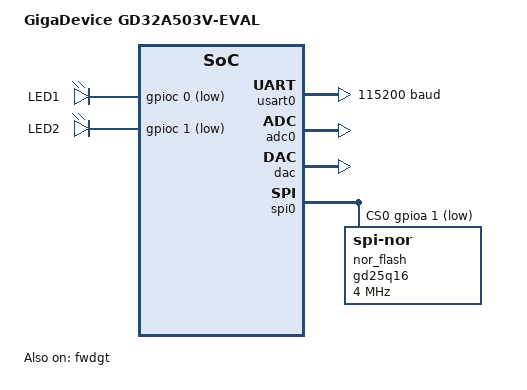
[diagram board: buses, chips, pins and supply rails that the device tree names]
/*
 * Copyright (c) 2022 YuLong Yao <feilongphone@gmail.com>
 * SPDX-License-Identifier: Apache-2.0
 */

/dts-v1/;

#include <gd/gd32a50x/gd32a503vdt3.dtsi>
#include "gd32a503v_eval-pinctrl.dtsi"

/ {
	model = "GigaDevice GD32A503V-EVAL";
	compatible = "gd,gd32a503v-eval";

	chosen {
		zephyr,sram = &sram0;
		zephyr,flash = &flash0;
		zephyr,console = &usart0;
		zephyr,shell-uart = &usart0;
		zephyr,flash-controller = &fmc;
	};

	leds {
		compatible = "gpio-leds";
		led1: led1 {
			gpios = <&gpioc 0 GPIO_ACTIVE_LOW>;
			label = "LED1";
		};
		led2: led2 {
			gpios = <&gpioc 1 GPIO_ACTIVE_LOW>;
			label = "LED2";
		};
	};

	aliases {
		led0 = &led1;
		led1 = &led2;
	};
};

&gpioa {
	status = "okay";
};

&gpiob {
	status = "okay";
};

&gpioc {
	status = "okay";
};

&gpiod {
	status = "okay";
};

&gpioe {
	status = "okay";
};

&gpiof {
	status = "okay";
};

&usart0 {
	status = "okay";
	current-speed = <115200>;
	pinctrl-0 = <&usart0_default>;
	pinctrl-names = "default";
};

&adc0 {
	status = "okay";
	pinctrl-0 = <&adc0_default>;
	pinctrl-names = "default";
};

&dac {
	status = "okay";
	pinctrl-0 = <&dac_default>;
	pinctrl-names = "default";
};

&fwdgt {
	status = "okay";
};

&spi0 {
	status = "okay";
	pinctrl-0 = <&spi0_default>;
	pinctrl-names = "default";
	cs-gpios = <&gpioa 1 GPIO_ACTIVE_LOW>;

	nor_flash: gd25q16@0 {
		compatible ="jedec,spi-nor";
		size = <0x1000000>;
		reg = <0>;
		spi-max-frequency = <4000000>;
		status = "okay";
		jedec-id = [c8 40 15];
	};
};
